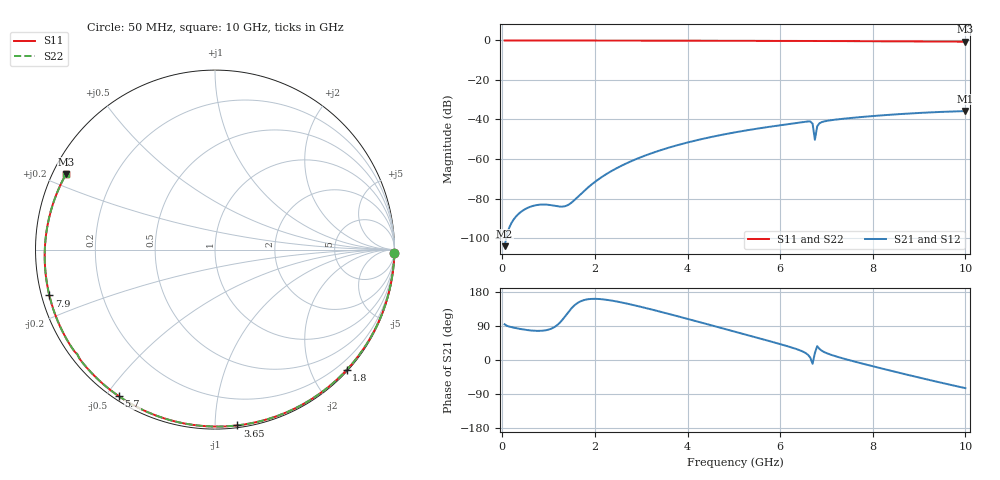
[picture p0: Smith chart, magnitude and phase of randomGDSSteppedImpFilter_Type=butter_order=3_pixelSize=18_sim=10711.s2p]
! freq	dB(S11)	phase(S11)	dB(S12)	phase(S12)
!  dB(S21)	phase(S21)	dB(S22)	phase(S22)
!S-par simulation data
#  GHz  S  DB  R 50
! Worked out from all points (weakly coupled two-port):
!   200 points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, 50 MHz to 10 GHz, reference 50 ohm
!   highest |S21| = -35.74 dB at 10 GHz (marker M1); lowest = -104.1 dB at 50 MHz (marker M2)
!   lowest |S11| = -0.6 dB at 10 GHz (marker M3), VSWR 27.77, Z = 1.9 + j12 ohm
!   |S11| at or under -10 dB: nowhere
!   |S22| runs from -0.6 to 0.0 dB; largest |S21 - S12| = 0
!   S11 on the Smith chart (normalised r, x): 50 MHz: 1, -97; 1.8 GHz: 0.02, -2.58; 3.65 GHz: 0.01, -1.14; 5.7 GHz: 0.02, -0.54; 7.9 GHz: 0.02, -0.14; 10 GHz: 0.04, +0.24
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0.05  -0.00 -1.2  -104.11 94.2  -104.11 94.2  -0.00 -1.2
0.8  -0.02 -19.1  -83.12 76.9  -83.12 76.9  -0.02 -19.1
1.55  -0.05 -36.7  -80.96 143.4  -80.96 143.4  -0.05 -36.7
1.6  -0.05 -37.8  -79.86 148.4  -79.86 148.4  -0.05 -37.8
1.75  -0.05 -41.3  -76.51 157.6  -76.51 157.6  -0.05 -41.3
1.8  -0.05 -42.4  -75.45 159.2  -75.45 159.2  -0.05 -42.4
2.1  -0.06 -49.2  -69.89 160.9  -69.89 160.9  -0.06 -49.2
2.45  -0.07 -57.0  -64.89 154.9  -64.89 154.9  -0.07 -57.0
2.9  -0.09 -66.8  -59.95 143.0  -59.95 143.0  -0.09 -66.9
3.4  -0.10 -77.5  -55.68 127.8  -55.68 127.8  -0.10 -77.5
3.65  -0.11 -82.7  -53.88 119.9  -53.88 119.9  -0.11 -82.7
5.05  -0.17 -110.7  -46.40 73.8  -46.40 73.8  -0.17 -110.8
5.7  -0.20 -123.2  -43.93 52.2  -43.93 52.2  -0.20 -123.2
6.6  -0.27 -140.2  -40.99 13.9  -40.99 13.9  -0.27 -140.2
6.7  -0.30 -142.2  -42.09 -10.1  -42.09 -10.1  -0.30 -142.2
6.75  -0.32 -142.8  -50.29 18.4  -50.29 18.4  -0.32 -142.8
6.8  -0.30 -143.7  -43.44 36.5  -43.44 36.5  -0.30 -143.7
6.9  -0.29 -145.6  -41.31 24.4  -41.31 24.4  -0.29 -145.6
7.9  -0.38 -164.5  -38.45 -13.4  -38.45 -13.4  -0.38 -164.6
8.35  -0.42 -173.2  -37.64 -27.1  -37.64 -27.1  -0.42 -173.2
9.2  -0.52 169.9  -36.45 -52.1  -36.45 -52.1  -0.52 169.9
10  -0.63 153.0  -35.74 -74.3  -35.74 -74.3  -0.63 153.0
